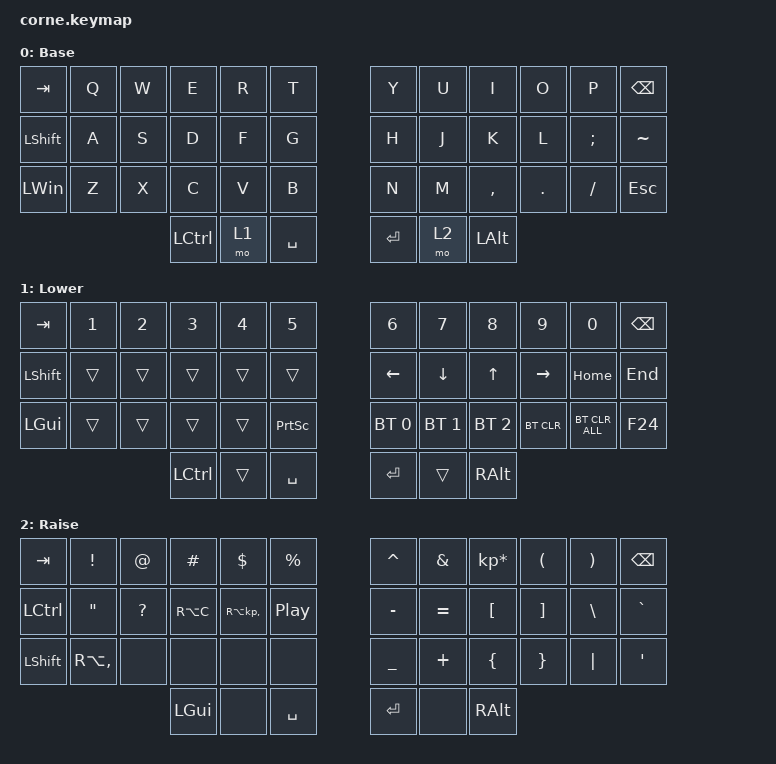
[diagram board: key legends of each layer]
/*
 * Copyright (c) 2020 The ZMK Contributors
 *
 * SPDX-License-Identifier: MIT
 */

#include <behaviors.dtsi>
#include <dt-bindings/zmk/bt.h>
#include <dt-bindings/zmk/keys.h>

/ {
    macros {
        CEDILHA: CEDILHA {
            compatible = "zmk,behavior-macro";
            #binding-cells = <0>;
            bindings = <&kp GRAVE &kp C>;
            label = "CEDILHA";
        };

        new_macro: new_macro {
            compatible = "zmk,behavior-macro";
            #binding-cells = <0>;
            bindings = <&kp RA(COMMA)>;
            label = "NEW_MACRO";
        };
    };

    keymap {
        compatible = "zmk,keymap";

        default_layer {
            // -----------------------------------------------------------------------------------------
            // |  TAB |  Q  |  W  |  E  |  R  |  T  |   |  Y  |  U   |  I  |  O  |  P  | BKSP |
            // | CTRL |  A  |  S  |  D  |  F  |  G  |   |  H  |  J   |  K  |  L  |  ;  |  '   |
            // | SHFT |  Z  |  X  |  C  |  V  |  B  |   |  N  |  M   |  ,  |  .  |  /  | ESC  |
            //                    | GUI | LWR | SPC |   | ENT | RSE  | ALT |

            display-name = "Base";
            bindings = <
&kp TAB         &kp Q  &kp W  &kp E             &kp R  &kp T        &kp Y    &kp U  &kp I         &kp O    &kp P     &kp BSPC
&kp LEFT_SHIFT  &kp A  &kp S  &kp D             &kp F  &kp G        &kp H    &kp J  &kp K         &kp L    &kp SEMI  &kp TILDE
&kp LEFT_WIN    &kp Z  &kp X  &kp C             &kp V  &kp B        &kp N    &kp M  &kp COMMA     &kp DOT  &kp FSLH  &kp ESC
                              &kp LEFT_CONTROL  &mo 1  &kp SPACE    &kp RET  &mo 2  &kp LEFT_ALT
            >;
        };

        lower_layer {
            // -----------------------------------------------------------------------------------------
            // |  TAB |  1  |  2  |  3  |  4  |  5  |   |  6  |  7  |  8  |  9  |  0  | BKSP |
            // | BTCLR| BT1 | BT2 | BT3 | BT4 | BT5 |   | LFT | DWN |  UP | RGT |     |      |
            // | SHFT |     |     |     |     |     |   |     |     |     |     |     |      |
            //                    | GUI |     | SPC |   | ENT |     | ALT |

            display-name = "Lower";
            bindings = <
&kp TAB         &kp N1  &kp N2  &kp N3            &kp N4  &kp N5             &kp N6        &kp N7        &kp N8        &kp N9      &kp N0          &kp BSPC
&kp LEFT_SHIFT  &trans  &trans  &trans            &trans  &trans             &kp LEFT      &kp DOWN      &kp UP        &kp RIGHT   &kp HOME        &kp END
&kp LEFT_GUI    &trans  &trans  &trans            &trans  &kp PRINTSCREEN    &bt BT_SEL 0  &bt BT_SEL 1  &bt BT_SEL 2  &bt BT_CLR  &bt BT_CLR_ALL  &kp F24
                                &kp LEFT_CONTROL  &trans  &kp SPACE          &kp RET       &trans        &kp RALT
            >;
        };

        raise_layer {
            // -----------------------------------------------------------------------------------------
            // |  TAB |  !  |  @  |  #  |  $  |  %  |   |  ^  |  &  |  *  |  (  |  )  | BKSP |
            // | CTRL |     |     |     |     |     |   |  -  |  =  |  [  |  ]  |  \  |  `   |
            // | SHFT |     |     |     |     |     |   |  _  |  +  |  {  |  }  | "|" |  ~   |
            //                    | GUI |     | SPC |   | ENT |     | ALT |

            display-name = "Raise";
            bindings = <
&kp TAB    &kp EXCL           &kp AT        &kp HASH   &kp DLLR          &kp PRCNT    &kp CARET  &kp AMPS   &kp KP_MULTIPLY  &kp LPAR  &kp RPAR  &kp BSPC
&kp LCTRL  &kp DOUBLE_QUOTES  &kp QUESTION  &kp RA(C)  &kp RA(KP_COMMA)  &kp C_PP     &kp MINUS  &kp EQUAL  &kp LBKT         &kp RBKT  &kp BSLH  &kp GRAVE
&kp LSHFT  &kp RA(COMMA)      &none         &none      &none             &none        &kp UNDER  &kp PLUS   &kp LBRC         &kp RBRC  &kp PIPE  &kp APOS
                                            &kp LGUI   &none             &kp SPACE    &kp RET    &none      &kp RALT
            >;
        };

        extra_1 { status = "reserved"; };

        extra_2 { status = "reserved"; };

        extra_3 { status = "reserved"; };
    };
};
